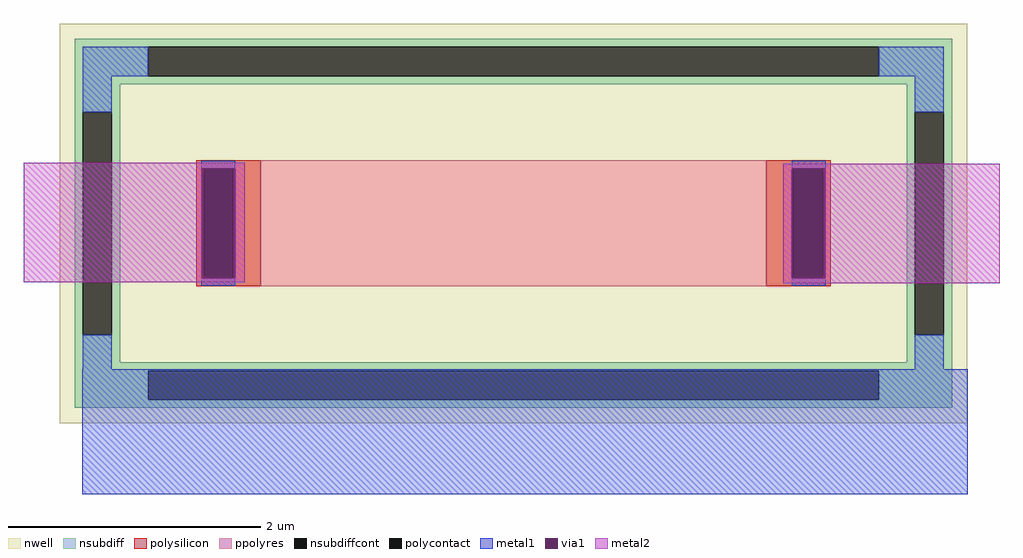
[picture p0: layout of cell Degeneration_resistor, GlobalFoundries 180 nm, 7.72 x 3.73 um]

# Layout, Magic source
magic
tech gf180mcuD
magscale 1 10
<< metal1 >>
rect 134 333 188 345
rect 134 159 135 333
rect 134 147 188 159
rect 1068 333 1122 345
rect 1121 159 1122 333
rect 1068 147 1122 159
rect -54 -183 1347 15
<< via1 >>
rect 135 159 188 333
rect 1068 159 1121 333
<< metal2 >>
rect -147 333 203 342
rect -147 159 135 333
rect 188 159 203 333
rect -147 153 203 159
rect 1055 333 1397 340
rect 1055 159 1068 333
rect 1121 159 1397 333
rect 1055 151 1397 159
use ppolyf_u_95K9DY  ppolyf_u_95K9DY_0
transform 0 1 628 -1 0 246
box -316 -718 316 718
<< end >>

# cell ppolyf_u_95K9DY: kit device ppolyf_u, w 1 l 4 m 1 nx 1 wmin 0.80 lmin 1.00 class resistor rho 315 val 1.354k dummy 0 dw 0.07 term 0.0 sterm 0.0 caplen 0.4 snake 0 glc 1 grc 1 gtc 1 gbc 1 roverlap 0 endcov 100 full_metal 1
